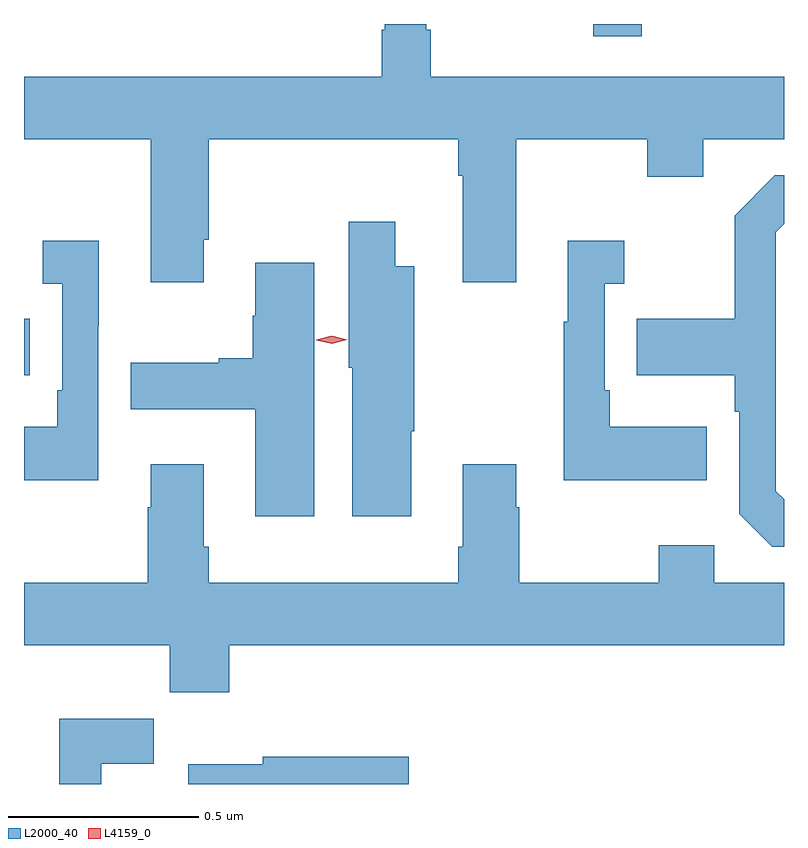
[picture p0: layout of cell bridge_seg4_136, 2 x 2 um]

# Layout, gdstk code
import gdstk
lib = gdstk.Library(unit=1e-6, precision=1e-09)
def R(c, l, rs):  # rectangles x0, y0, x1, y1
    for r in rs: c.add(gdstk.rectangle(r[:2], r[2:], *l))
def P(c, l, *ps):  # polygons
    for p in ps: c.add(gdstk.Polygon(p, *l))
L2000_40 = (2000, 40)
L4159_0 = (4159, 0)

bridge_seg4_136 = lib.new_cell('bridge_seg4_136')
R(bridge_seg4_136, L2000_40, [(239.534,777.551,239.549,777.699), (241.032,778.443,241.16,778.475)])
P(bridge_seg4_136, L2000_40, [(240.007,777.907),(240.02,777.907),(240.02,778.172),(240.677,778.172),(240.677,778.076),(240.689,778.076),(240.689,777.795),(240.829,777.795),(240.829,778.172),(241.174,778.172),(241.174,778.073),(241.321,778.073),(241.321,778.172),(241.534,778.172),(241.534,778.336),(240.604,778.336),(240.604,778.46),(240.592,778.46),(240.592,778.475),(240.483,778.475),(240.483,778.46),(240.475,778.46),(240.475,778.336),(239.534,778.336),(239.534,778.172),(239.867,778.172),(239.867,777.795),(240.007,777.795)],
  [(241.534,777.224),(241.512,777.246),(241.512,777.927),(241.534,777.949),(241.534,778.077),(241.509,778.077),(241.404,777.971),(241.404,777.699),(241.147,777.699),(241.147,777.551),(241.404,777.551),(241.404,777.455),(241.416,777.455),(241.416,777.186),(241.503,777.099),(241.534,777.099)],
  [(240.553,777.403),(240.561,777.403),(240.561,777.838),(240.511,777.838),(240.511,777.955),(240.389,777.955),(240.389,777.57),(240.398,777.57),(240.398,777.18),(240.553,777.18)],
  [(239.73,777.679),(239.731,777.679),(239.731,777.904),(239.583,777.904),(239.583,777.791),(239.634,777.791),(239.634,777.511),(239.622,777.511),(239.622,777.415),(239.534,777.415),(239.534,777.275),(239.73,777.275)],
  [(241.331,777.415),(241.075,777.415),(241.075,777.511),(241.062,777.511),(241.062,777.791),(241.114,777.791),(241.114,777.904),(240.965,777.904),(240.965,777.691),(240.954,777.691),(240.954,777.275),(241.331,777.275)],
  [(240.298,777.847),(240.143,777.847),(240.143,777.707),(240.136,777.707),(240.136,777.596),(240.047,777.596),(240.047,777.583),(239.815,777.583),(239.815,777.461),(240.143,777.461),(240.143,777.18),(240.298,777.18)],
  [(240.074,776.84),(241.534,776.84),(241.534,777.004),(241.35,777.004),(241.35,777.103),(241.204,777.103),(241.204,777.004),(240.837,777.004),(240.837,777.203),(240.829,777.203),(240.829,777.316),(240.689,777.316),(240.689,777.1),(240.677,777.1),(240.677,777.004),(240.02,777.004),(240.02,777.1),(240.007,777.1),(240.007,777.316),(239.867,777.316),(239.867,777.203),(239.86,777.203),(239.86,777.004),(239.534,777.004),(239.534,776.84),(239.917,776.84),(239.917,776.716),(240.074,776.716)],
  [(239.737,776.528),(239.876,776.528),(239.876,776.647),(239.627,776.647),(239.627,776.475),(239.737,776.475)],
  [(240.547,776.547),(240.162,776.547),(240.162,776.527),(239.966,776.527),(239.966,776.475),(240.547,776.475)])
P(bridge_seg4_136, L4159_0, [(240.344,777.634),(240.303,777.643),(240.303,777.643),(240.303,777.644),(240.344,777.654),(240.385,777.644),(240.385,777.644),(240.385,777.644)])

lib.write_gds('bridge_seg4_136.gds')
